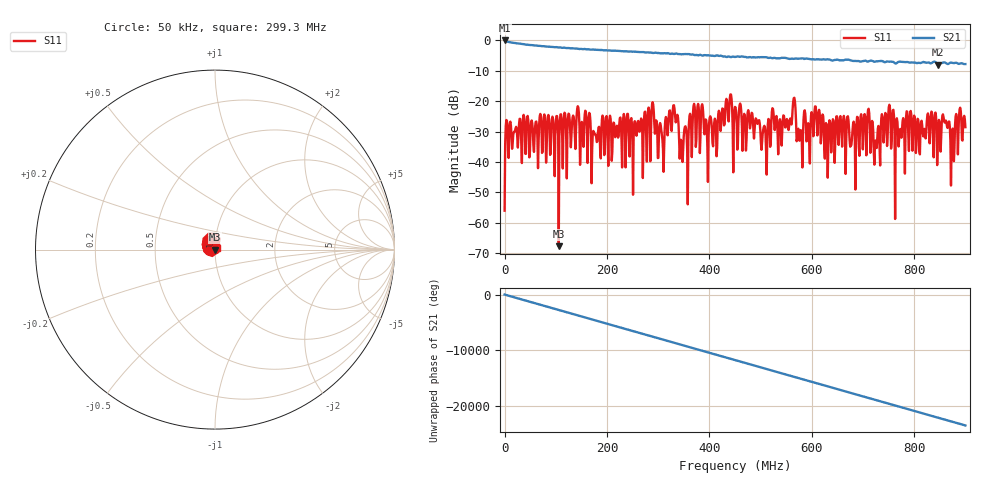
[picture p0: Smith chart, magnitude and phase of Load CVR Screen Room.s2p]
! NanoVNA-App
! Date: 2026-10-30 14:49:33
! Start: 50kHz Stop: 900MHz Points: 801
! S-Parameter data: F S11 S21 S12 S22
# Hz S RI R 50
!  Frequency  S11_Real  S11_Imag  S21_Real  S21_Imag  S12_Real  S12_Imag  S22_Real  S22_Imag
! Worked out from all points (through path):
!   801 points, 50 kHz to 900 MHz, reference 50 ohm
!   highest |S21| = -0.04 dB at 50 kHz (marker M1); lowest = -8.0 dB at 846 MHz (marker M2)
!   lowest |S11| = -67.7 dB at 105.8 MHz (marker M3), VSWR 1.00, Z = 50 + j0.0412 ohm
!   |S11| at or under -10 dB: start of sweep to end of sweep
!   S12 and S22 are empty: the file has one direction only
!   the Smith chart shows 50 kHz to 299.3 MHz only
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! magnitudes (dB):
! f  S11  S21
! 50 kHz  -56.0  0.0
! 6.8 MHz  -36.3  -0.5
! 105.8 MHz  -67.7  -2.4
! 150.8 MHz  -26.8  -2.8
! 247.5 MHz  -25.6  -3.7
! 291.4 MHz  -23.5  -4.1
! 300.4 MHz  -38.6  -4.1
! 333 MHz  -24.9  -4.4
! 345.4 MHz  -33.1  -4.6
! 373.5 MHz  -35.1  -4.8
! 410.7 MHz  -25.8  -5.1
! 437.7 MHz  -26.7  -5.3
! 450 MHz  -21.9  -5.5
! 600.8 MHz  -24.5  -6.2
! 680.6 MHz  -27.5  -6.8
! 707.6 MHz  -30.8  -6.9
! 724.5 MHz  -32.9  -7.0
! 750.4 MHz  -22.0  -7.0
! 846 MHz  -34.0  -8.0
! 859.5 MHz  -27.1  -7.3
! 874.1 MHz  -29.9  -7.4
! 900 MHz  -28.6  -7.8
